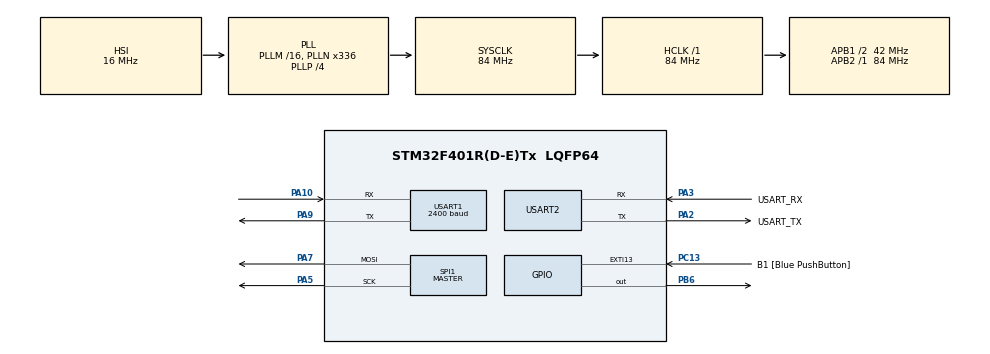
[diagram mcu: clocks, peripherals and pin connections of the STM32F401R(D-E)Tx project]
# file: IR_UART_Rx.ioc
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Mcu.Family=STM32F4
Mcu.Name=STM32F401R(D-E)Tx
Mcu.Package=LQFP64
NVIC.PriorityGroup=NVIC_PRIORITYGROUP_0
NVIC.SPI1_IRQn=true\:0\:0\:false\:false\:true\:true\:true
NVIC.TIM2_IRQn=true\:0\:0\:false\:false\:true\:true\:true
NVIC.USART1_IRQn=true\:0\:0\:false\:false\:true\:true\:true
NVIC.USART2_IRQn=true\:0\:0\:false\:false\:true\:true\:true
PA10.Mode=Asynchronous
PA10.Signal=USART1_RX
PA13.GPIO_Label=TMS
PA13.Mode=Serial_Wire
PA13.Signal=SYS_JTMS-SWDIO
PA14.GPIO_Label=TCK
PA14.Mode=Serial_Wire
PA14.Signal=SYS_JTCK-SWCLK
PA2.GPIO_Label=USART_TX
PA2.GPIO_Mode=GPIO_MODE_AF_PP
PA2.GPIO_PuPd=GPIO_NOPULL
PA2.GPIO_Speed=GPIO_SPEED_FREQ_LOW
PA2.Mode=Asynchronous
PA2.Signal=USART2_TX
PA3.GPIO_Label=USART_RX
PA3.GPIO_Mode=GPIO_MODE_AF_PP
PA3.GPIO_PuPd=GPIO_NOPULL
PA3.GPIO_Speed=GPIO_SPEED_FREQ_LOW
PA3.Mode=Asynchronous
PA3.Signal=USART2_RX
PA5.Mode=TX_Only_Simplex_Unidirect_Master
PA5.Signal=SPI1_SCK
PA7.Mode=TX_Only_Simplex_Unidirect_Master
PA7.Signal=SPI1_MOSI
PA9.Mode=Asynchronous
PA9.Signal=USART1_TX
PB3.GPIO_Label=SWO
PB3.Signal=SYS_JTDO-SWO
PB6.Signal=GPIO_Output
PC13-ANTI_TAMP.GPIO_Label=B1 [Blue PushButton]
PC13-ANTI_TAMP.GPIO_ModeDefaultEXTI=GPIO_MODE_IT_FALLING
PC13-ANTI_TAMP.GPIO_PuPd=GPIO_NOPULL
PC13-ANTI_TAMP.Signal=GPXTI13
PC14-OSC32_IN.Mode=LSE-External-Oscillator
PC14-OSC32_IN.Signal=RCC_OSC32_IN
PC15-OSC32_OUT.Mode=LSE-External-Oscillator
PC15-OSC32_OUT.Signal=RCC_OSC32_OUT
PH0\ -\ OSC_IN.Mode=HSE-External-Clock-Source
PH0\ -\ OSC_IN.Signal=RCC_OSC_IN
PH1\ -\ OSC_OUT.Mode=HSE-External-Clock-Source
PH1\ -\ OSC_OUT.Signal=RCC_OSC_OUT
ProjectManager.HeapSize=0x200
ProjectManager.StackSize=0x400
ProjectManager.TargetToolchain=STM32CubeIDE
RCC.48MHZClocksFreq_Value=48000000
RCC.AHBFreq_Value=84000000
RCC.APB1CLKDivider=RCC_HCLK_DIV2
RCC.APB1Freq_Value=42000000
RCC.APB1TimFreq_Value=84000000
RCC.APB2Freq_Value=84000000
RCC.APB2TimFreq_Value=84000000
RCC.CortexFreq_Value=84000000
RCC.HCLKFreq_Value=84000000
RCC.HSE_VALUE=8000000
RCC.HSI_VALUE=16000000
RCC.PLLN=336
RCC.PLLP=RCC_PLLP_DIV4
RCC.PLLQ=7
RCC.SYSCLKFreq_VALUE=84000000
RCC.SYSCLKSource=RCC_SYSCLKSOURCE_PLLCLK
RCC.VCOOutputFreq_Value=336000000
SPI1.BaudRatePrescaler=SPI_BAUDRATEPRESCALER_4
SPI1.Direction=SPI_DIRECTION_2LINES
SPI1.Mode=SPI_MODE_MASTER
SPI1.VirtualType=VM_MASTER
TIM2.Period=100 - 1
TIM2.Prescaler=840 - 1
USART1.BaudRate=2400
USART1.Mode=MODE_RX
USART1.VirtualMode=VM_ASYNC
USART2.VirtualMode=VM_ASYNC
VP_TIM2_VS_ClockSourceINT.Mode=Internal
board=NUCLEO-F401RE

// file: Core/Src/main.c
/* USER CODE BEGIN Header */
/**
  ******************************************************************************
  * @file           : main.c
  * @brief          : Main program body
  ******************************************************************************
  * @attention
  *
  * <h2><center>&copy; Copyright (c) 2021 STMicroelectronics.
  * All rights reserved.</center></h2>
  *
  * This software component is licensed by ST under BSD 3-Clause license,
  * the "License"; You may not use this file except in compliance with the
  * License. You may obtain a copy of the License at:
  *                        opensource.org/licenses/BSD-3-Clause
  *
  ******************************************************************************
  */
/* USER CODE END Header */
#include "main.h"

/* USER CODE BEGIN Includes */
#include "symbols.h"
#include "stdlib.h"
#include "string.h"
#include "ctype.h" //for toupper()
/* USER CODE END Includes */

/* USER CODE BEGIN PD */
#define RCLK_PIN	GPIOB, GPIO_PIN_6	//CS PIN
#define ROWS 5
#define COLS 2
/* USER CODE END PD */

SPI_HandleTypeDef hspi1;

TIM_HandleTypeDef htim2;

UART_HandleTypeDef huart1;
UART_HandleTypeDef huart2;

/* USER CODE BEGIN PV */
uint8_t buffer[3] = " \r\n";
uint8_t led_buffer[5][2];
uint8_t col_index = 0;

/* USER CODE END PV */

void SystemClock_Config(void);
static void MX_GPIO_Init(void);
static void MX_USART2_UART_Init(void);
static void MX_TIM2_Init(void);
static void MX_SPI1_Init(void);
static void MX_USART1_UART_Init(void);
/* USER CODE BEGIN PFP */
void setString(uint8_t *str, uint16_t length);
/* USER CODE END PFP */

/* USER CODE BEGIN 0 */
void HAL_UART_RxCpltCallback(UART_HandleTypeDef *huart){
	HAL_UART_Transmit_IT(huart, buffer, sizeof(buffer));
	/*
	 * If you want to receive the bytes from a transmitting board, select &huart1
	 * If you want to receive the bytes from putty, select &huart2
	 * Remember to change the parameter also in the main loop
	 */
	HAL_UART_Receive_IT(&huart2, buffer, sizeof(buffer[0]));

	setString(buffer, sizeof(buffer[0]));
}

void HAL_TIM_PeriodElapsedCallback(TIM_HandleTypeDef *htim)
{
	if (htim == &htim2){
		HAL_SPI_Transmit_IT(&hspi1, led_buffer[col_index], 2);
	}
}

void HAL_SPI_TxCpltCallback(SPI_HandleTypeDef *hspi){
	if(hspi == &hspi1){
		HAL_GPIO_WritePin(RCLK_PIN, GPIO_PIN_SET);
		if (++col_index > 4) {
			col_index = 0;
		}
		HAL_GPIO_WritePin(RCLK_PIN, GPIO_PIN_RESET);
	}
}
/* USER CODE END 0 */

int main(void)
{

  /* MCU Configuration--------------------------------------------------------*/

  /* Reset of all peripherals, Initializes the Flash interface and the Systick. */
  HAL_Init();

  /* Configure the system clock */
  SystemClock_Config();

  /* USER CODE BEGIN SysInit */
  HAL_NVIC_SetPriorityGrouping(NVIC_PRIORITYGROUP_2);
  HAL_NVIC_SetPriority(SPI1_IRQn, 1, 1);
  HAL_NVIC_SetPriority(USART2_IRQn, 1, 1);
  /* USER CODE END SysInit */

  /* Initialize all configured peripherals */
  MX_GPIO_Init();
  MX_USART2_UART_Init();
  MX_TIM2_Init();
  MX_SPI1_Init();
  MX_USART1_UART_Init();
  /* USER CODE BEGIN 2 */
  HAL_TIM_Base_Start_IT(&htim2);
	/*
	 * If you want to receive the bytes from a transmitting board, select &huart1
	 * If you want to receive the bytes from putty, select &huart2
	 * Remember to change the parameter also in HAL_UART_RxCpltCallback
	 */
  HAL_UART_Receive_IT(&huart2, buffer, sizeof(buffer[0]));
  /* USER CODE END 2 */

  /* Infinite loop */
  while (1)
  {

  }
}

void SystemClock_Config(void)
{
  RCC_OscInitTypeDef RCC_OscInitStruct = {0};
  RCC_ClkInitTypeDef RCC_ClkInitStruct = {0};

  /** Configure the main internal regulator output voltage
  */
  __HAL_RCC_PWR_CLK_ENABLE();
  __HAL_PWR_VOLTAGESCALING_CONFIG(PWR_REGULATOR_VOLTAGE_SCALE2);
  /** Initializes the RCC Oscillators according to the specified parameters
  * in the RCC_OscInitTypeDef structure.
  */
  RCC_OscInitStruct.OscillatorType = RCC_OSCILLATORTYPE_HSI;
  RCC_OscInitStruct.HSIState = RCC_HSI_ON;
  RCC_OscInitStruct.HSICalibrationValue = RCC_HSICALIBRATION_DEFAULT;
  RCC_OscInitStruct.PLL.PLLState = RCC_PLL_ON;
  RCC_OscInitStruct.PLL.PLLSource = RCC_PLLSOURCE_HSI;
  RCC_OscInitStruct.PLL.PLLM = 16;
  RCC_OscInitStruct.PLL.PLLN = 336;
  RCC_OscInitStruct.PLL.PLLP = RCC_PLLP_DIV4;
  RCC_OscInitStruct.PLL.PLLQ = 7;
  if (HAL_RCC_OscConfig(&RCC_OscInitStruct) != HAL_OK)
  {
    Error_Handler();
  }
  /** Initializes the CPU, AHB and APB buses clocks
  */
  RCC_ClkInitStruct.ClockType = RCC_CLOCKTYPE_HCLK|RCC_CLOCKTYPE_SYSCLK
                              |RCC_CLOCKTYPE_PCLK1|RCC_CLOCKTYPE_PCLK2;
  RCC_ClkInitStruct.SYSCLKSource = RCC_SYSCLKSOURCE_PLLCLK;
  RCC_ClkInitStruct.AHBCLKDivider = RCC_SYSCLK_DIV1;
  RCC_ClkInitStruct.APB1CLKDivider = RCC_HCLK_DIV2;
  RCC_ClkInitStruct.APB2CLKDivider = RCC_HCLK_DIV1;

  if (HAL_RCC_ClockConfig(&RCC_ClkInitStruct, FLASH_LATENCY_2) != HAL_OK)
  {
    Error_Handler();
  }
}

static void MX_SPI1_Init(void)
{

  /* SPI1 parameter configuration*/
  hspi1.Instance = SPI1;
  hspi1.Init.Mode = SPI_MODE_MASTER;
  hspi1.Init.Direction = SPI_DIRECTION_2LINES;
  hspi1.Init.DataSize = SPI_DATASIZE_8BIT;
  hspi1.Init.CLKPolarity = SPI_POLARITY_LOW;
  hspi1.Init.CLKPhase = SPI_PHASE_1EDGE;
  hspi1.Init.NSS = SPI_NSS_SOFT;
  hspi1.Init.BaudRatePrescaler = SPI_BAUDRATEPRESCALER_4;
  hspi1.Init.FirstBit = SPI_FIRSTBIT_MSB;
  hspi1.Init.TIMode = SPI_TIMODE_DISABLE;
  hspi1.Init.CRCCalculation = SPI_CRCCALCULATION_DISABLE;
  hspi1.Init.CRCPolynomial = 10;
  if (HAL_SPI_Init(&hspi1) != HAL_OK)
  {
    Error_Handler();
  }

}

static void MX_TIM2_Init(void)
{

  TIM_ClockConfigTypeDef sClockSourceConfig = {0};
  TIM_MasterConfigTypeDef sMasterConfig = {0};

  htim2.Instance = TIM2;
  htim2.Init.Prescaler = 840 - 1;
  htim2.Init.CounterMode = TIM_COUNTERMODE_UP;
  htim2.Init.Period = 100 - 1;
  htim2.Init.ClockDivision = TIM_CLOCKDIVISION_DIV1;
  htim2.Init.AutoReloadPreload = TIM_AUTORELOAD_PRELOAD_DISABLE;
  if (HAL_TIM_Base_Init(&htim2) != HAL_OK)
  {
    Error_Handler();
  }
  sClockSourceConfig.ClockSource = TIM_CLOCKSOURCE_INTERNAL;
  if (HAL_TIM_ConfigClockSource(&htim2, &sClockSourceConfig) != HAL_OK)
  {
    Error_Handler();
  }
  sMasterConfig.MasterOutputTrigger = TIM_TRGO_RESET;
  sMasterConfig.MasterSlaveMode = TIM_MASTERSLAVEMODE_DISABLE;
  if (HAL_TIMEx_MasterConfigSynchronization(&htim2, &sMasterConfig) != HAL_OK)
  {
    Error_Handler();
  }

}

static void MX_USART1_UART_Init(void)
{

  huart1.Instance = USART1;
  huart1.Init.BaudRate = 2400;
  huart1.Init.WordLength = UART_WORDLENGTH_8B;
  huart1.Init.StopBits = UART_STOPBITS_1;
  huart1.Init.Parity = UART_PARITY_NONE;
  huart1.Init.Mode = UART_MODE_RX;
  huart1.Init.HwFlowCtl = UART_HWCONTROL_NONE;
  huart1.Init.OverSampling = UART_OVERSAMPLING_16;
  if (HAL_UART_Init(&huart1) != HAL_OK)
  {
    Error_Handler();
  }

}

static void MX_USART2_UART_Init(void)
{

  huart2.Instance = USART2;
  huart2.Init.BaudRate = 115200;
  huart2.Init.WordLength = UART_WORDLENGTH_8B;
  huart2.Init.StopBits = UART_STOPBITS_1;
  huart2.Init.Parity = UART_PARITY_NONE;
  huart2.Init.Mode = UART_MODE_TX_RX;
  huart2.Init.HwFlowCtl = UART_HWCONTROL_NONE;
  huart2.Init.OverSampling = UART_OVERSAMPLING_16;
  if (HAL_UART_Init(&huart2) != HAL_OK)
  {
    Error_Handler();
  }

}

static void MX_GPIO_Init(void)
{
  GPIO_InitTypeDef GPIO_InitStruct = {0};

  /* GPIO Ports Clock Enable */
  __HAL_RCC_GPIOC_CLK_ENABLE();
  __HAL_RCC_GPIOH_CLK_ENABLE();
  __HAL_RCC_GPIOA_CLK_ENABLE();
  __HAL_RCC_GPIOB_CLK_ENABLE();

  /*Configure GPIO pin Output Level */
  HAL_GPIO_WritePin(GPIOB, GPIO_PIN_6, GPIO_PIN_RESET);

  /*Configure GPIO pin : B1_Pin */
  GPIO_InitStruct.Pin = B1_Pin;
  GPIO_InitStruct.Mode = GPIO_MODE_IT_FALLING;
  GPIO_InitStruct.Pull = GPIO_NOPULL;
  HAL_GPIO_Init(B1_GPIO_Port, &GPIO_InitStruct);

  /*Configure GPIO pin : PB6 */
  GPIO_InitStruct.Pin = GPIO_PIN_6;
  GPIO_InitStruct.Mode = GPIO_MODE_OUTPUT_PP;
  GPIO_InitStruct.Pull = GPIO_NOPULL;
  GPIO_InitStruct.Speed = GPIO_SPEED_FREQ_LOW;
  HAL_GPIO_Init(GPIOB, &GPIO_InitStruct);

}

/* USER CODE BEGIN 4 */
void setString(uint8_t *str, uint16_t length){
	for (uint16_t i = 0; i < length; i++){
		switch (toupper(str[i])){
		case 'A':
			memcpy(led_buffer, A, ROWS*COLS*sizeof(uint8_t));
			break;
		case 'B':
			memcpy(led_buffer, B, ROWS*COLS*sizeof(uint8_t));
			break;
		case 'C':
			memcpy(led_buffer, C, ROWS*COLS*sizeof(uint8_t));
			break;
		case 'D':
			memcpy(led_buffer, D, ROWS*COLS*sizeof(uint8_t));
			break;
		case 'E':
			memcpy(led_buffer, E, ROWS*COLS*sizeof(uint8_t));
			break;
		case 'F':
			memcpy(led_buffer, F, ROWS*COLS*sizeof(uint8_t));
			break;
		case 'G':
			memcpy(led_buffer, G, ROWS*COLS*sizeof(uint8_t));
			break;
		case 'H':
			memcpy(led_buffer, H, ROWS*COLS*sizeof(uint8_t));
			break;
		case 'I':
			memcpy(led_buffer, I, ROWS*COLS*sizeof(uint8_t));
			break;
		case 'J':
			memcpy(led_buffer, J, ROWS*COLS*sizeof(uint8_t));
			break;
		case 'K':
			memcpy(led_buffer, K, ROWS*COLS*sizeof(uint8_t));
			break;
		case 'L':
			memcpy(led_buffer, L, ROWS*COLS*sizeof(uint8_t));
			break;
		case 'M':
			memcpy(led_buffer, M, ROWS*COLS*sizeof(uint8_t));
			break;
		case 'N':
			memcpy(led_buffer, N, ROWS*COLS*sizeof(uint8_t));
			break;
		case 'O':
			memcpy(led_buffer, O, ROWS*COLS*sizeof(uint8_t));
			break;
		case 'P':
			memcpy(led_buffer, P, ROWS*COLS*sizeof(uint8_t));
			break;
		case 'Q':
			memcpy(led_buffer, Q, ROWS*COLS*sizeof(uint8_t));
			break;
		case 'R':
			memcpy(led_buffer, R, ROWS*COLS*sizeof(uint8_t));
			break;
		case 'S':
			memcpy(led_buffer, S, ROWS*COLS*sizeof(uint8_t));
			break;
		case 'T':
			memcpy(led_buffer, T, ROWS*COLS*sizeof(uint8_t));
			break;
		case 'U':
			memcpy(led_buffer, U, ROWS*COLS*sizeof(uint8_t));
			break;
		case 'V':
			memcpy(led_buffer, V, ROWS*COLS*sizeof(uint8_t));
			break;
		case 'W':
			memcpy(led_buffer, W, ROWS*COLS*sizeof(uint8_t));
			break;
		case 'X':
			memcpy(led_buffer, X, ROWS*COLS*sizeof(uint8_t));
			break;
		case 'Y':
			memcpy(led_buffer, Y, ROWS*COLS*sizeof(uint8_t));
			break;
		case 'Z':
			memcpy(led_buffer, Z, ROWS*COLS*sizeof(uint8_t));
			break;
		case '0':
			memcpy(led_buffer, ZERO, ROWS*COLS*sizeof(uint8_t));
			break;
		case '1':
			memcpy(led_buffer, ONE, ROWS*COLS*sizeof(uint8_t));
			break;
		case '2':
			memcpy(led_buffer, TWO, ROWS*COLS*sizeof(uint8_t));
			break;
		case '3':
			memcpy(led_buffer, THREE, ROWS*COLS*sizeof(uint8_t));
			break;
		case '4':
			memcpy(led_buffer, FOUR, ROWS*COLS*sizeof(uint8_t));
			break;
		case '5':
			memcpy(led_buffer, FIVE, ROWS*COLS*sizeof(uint8_t));
			break;
		case '6':
			memcpy(led_buffer, SIX, ROWS*COLS*sizeof(uint8_t));
			break;
		case '7':
			memcpy(led_buffer, SEVEN, ROWS*COLS*sizeof(uint8_t));
			break;
		case '8':
			memcpy(led_buffer, EIGHT, ROWS*COLS*sizeof(uint8_t));
			break;
		case '9':
			memcpy(led_buffer, NINE, ROWS*COLS*sizeof(uint8_t));
			break;
		case ' ':
			memcpy(led_buffer, BLANK, ROWS*COLS*sizeof(uint8_t));
			break;
		default:
			memcpy(led_buffer, BLANK, ROWS*COLS*sizeof(uint8_t));
			break;
		}
	}
}
/* USER CODE END 4 */

void Error_Handler(void)
{
  __disable_irq();
  while (1)
  {
  }
}

/************************ (C) COPYRIGHT STMicroelectronics *****END OF FILE****/
